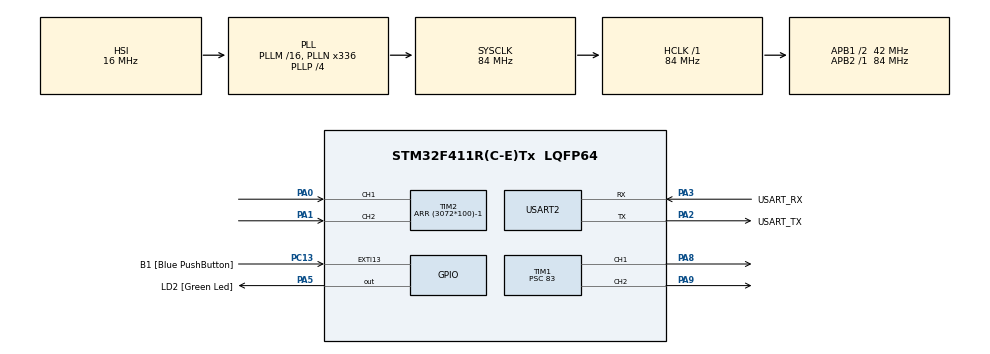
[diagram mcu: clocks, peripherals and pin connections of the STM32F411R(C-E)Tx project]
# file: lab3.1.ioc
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ARM.CMSIS.5.6.0.CMSISJjCORE=true
ARM.CMSIS.5.6.0.CMSISJjDSP=Library
Mcu.Family=STM32F4
Mcu.Name=STM32F411R(C-E)Tx
Mcu.Package=LQFP64
NVIC.PriorityGroup=NVIC_PRIORITYGROUP_0
NVIC.TIM3_IRQn=true\:0\:0\:false\:false\:true\:true\:true\:true
PA0-WKUP.Signal=S_TIM2_CH1_ETR
PA1.Signal=S_TIM2_CH2
PA13.GPIO_Label=TMS
PA13.Mode=Trace_Asynchronous_SW
PA13.Signal=SYS_JTMS-SWDIO
PA14.GPIO_Label=TCK
PA14.Mode=Trace_Asynchronous_SW
PA14.Signal=SYS_JTCK-SWCLK
PA2.GPIO_Label=USART_TX
PA2.Mode=Asynchronous
PA2.Signal=USART2_TX
PA3.GPIO_Label=USART_RX
PA3.Mode=Asynchronous
PA3.Signal=USART2_RX
PA5.GPIO_Label=LD2 [Green Led]
PA5.Signal=GPIO_Output
PA8.Signal=S_TIM1_CH1
PA9.Signal=S_TIM1_CH2
PB3.GPIO_Label=SWO
PB3.Mode=Trace_Asynchronous_SW
PB3.Signal=SYS_JTDO-SWO
PC13-ANTI_TAMP.GPIO_Label=B1 [Blue PushButton]
PC13-ANTI_TAMP.GPIO_ModeDefaultEXTI=GPIO_MODE_IT_FALLING
PC13-ANTI_TAMP.Signal=GPXTI13
PC14-OSC32_IN.Mode=LSE-External-Oscillator
PC14-OSC32_IN.Signal=RCC_OSC32_IN
PC15-OSC32_OUT.Mode=LSE-External-Oscillator
PC15-OSC32_OUT.Signal=RCC_OSC32_OUT
PH0\ -\ OSC_IN.Mode=HSE-External-Clock-Source
PH0\ -\ OSC_IN.Signal=RCC_OSC_IN
PH1\ -\ OSC_OUT.Mode=HSE-External-Clock-Source
PH1\ -\ OSC_OUT.Signal=RCC_OSC_OUT
ProjectManager.HeapSize=0x200
ProjectManager.StackSize=0x400
ProjectManager.TargetToolchain=STM32CubeIDE
RCC.48MHZClocksFreq_Value=84000000
RCC.AHBFreq_Value=84000000
RCC.APB1CLKDivider=RCC_HCLK_DIV2
RCC.APB1Freq_Value=42000000
RCC.APB1TimFreq_Value=84000000
RCC.APB2Freq_Value=84000000
RCC.APB2TimFreq_Value=84000000
RCC.CortexFreq_Value=84000000
RCC.FLatency-AdvancedSettings=FLASH_LATENCY_2
RCC.HCLKFreq_Value=84000000
RCC.HSE_VALUE=8000000
RCC.HSI_VALUE=16000000
RCC.PLLN=336
RCC.PLLP=RCC_PLLP_DIV4
RCC.SYSCLKFreq_VALUE=84000000
RCC.SYSCLKSource=RCC_SYSCLKSOURCE_PLLCLK
RCC.VCOOutputFreq_Value=336000000
SH.S_TIM1_CH1.0=TIM1_CH1,PWM Generation1 CH1
SH.S_TIM1_CH2.0=TIM1_CH2,PWM Generation2 CH2
SH.S_TIM2_CH1_ETR.0=TIM2_CH1,Encoder_Interface
SH.S_TIM2_CH2.0=TIM2_CH2,Encoder_Interface
TIM1.Channel-PWM\ Generation1\ CH1=TIM_CHANNEL_1
TIM1.Channel-PWM\ Generation2\ CH2=TIM_CHANNEL_2
TIM1.Period=999
TIM1.Prescaler=83
TIM2.Period=(3072*100)-1
TIM3.Period=1000-1
TIM3.Prescaler=83
USART2.VirtualMode=VM_ASYNC
VP_ARM.CMSIS_VS_CMSISJjCORE_5.3.0_5.6.0.Mode=CMSISJjCORE
VP_ARM.CMSIS_VS_CMSISJjDSP_1.7.0_5.6.0.Mode=CMSISJjDSP
VP_TIM1_VS_ClockSourceINT.Mode=Internal
VP_TIM3_VS_ClockSourceINT.Mode=Internal
board=NUCLEO-F411RE

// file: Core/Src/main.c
/* USER CODE BEGIN Header */
/* USER CODE END Header */
#include "main.h"

/* USER CODE BEGIN Includes */
#include "math.h"
/* USER CODE END Includes */

TIM_HandleTypeDef htim1;
TIM_HandleTypeDef htim2;
TIM_HandleTypeDef htim3;

UART_HandleTypeDef huart2;

/* USER CODE BEGIN PV */
uint64_t QEIReadRaw;
float position;
float targetposition;
float prevT=0;
float eprev=0;
float eintegral=0;
float u;
float Pwm=0;
float Kp=20;
float Ki=0.000001;
float Kd=0;
int32_t e;
int dir =1;
float deltaT;
float dedt;
/* USER CODE END PV */

void SystemClock_Config(void);
static void MX_GPIO_Init(void);
static void MX_USART2_UART_Init(void);
static void MX_TIM1_Init(void);
static void MX_TIM2_Init(void);
static void MX_TIM3_Init(void);
/* USER CODE BEGIN PFP */
float PlantSimulation(float Vin);
/* USER CODE END PFP */

int main(void)
{

  /* MCU Configuration--------------------------------------------------------*/

  /* Reset of all peripherals, Initializes the Flash interface and the Systick. */
  HAL_Init();

  /* Configure the system clock */
  SystemClock_Config();

  /* Initialize all configured peripherals */
  MX_GPIO_Init();
  MX_USART2_UART_Init();
  MX_TIM1_Init();
  MX_TIM2_Init();
  MX_TIM3_Init();
  /* USER CODE BEGIN 2 */
  HAL_TIM_Encoder_Start(&htim2, TIM_CHANNEL_1|TIM_CHANNEL_2);
  HAL_TIM_PWM_Start(&htim1, TIM_CHANNEL_1);
  HAL_TIM_PWM_Start(&htim1, TIM_CHANNEL_2);
  HAL_TIM_Base_Start_IT(&htim3);
  /* USER CODE END 2 */

  /* Infinite loop */
    while (1)
    {

    /* USER CODE BEGIN 3 */

//    	QEIReadRaw = __HAL_TIM_GET_COUNTER(&htim2);
//    	position = (QEIReadRaw*36000)/307200 ;
//    	static uint32_t timestamp = 0;
//    	timestamp = HAL_GetTick();
//    	float deltaT = (timestamp-prevT)/1000000;
//    	prevT = timestamp;
//    	e= targetposition-position;
//    	float dedt = (e-eprev)/(deltaT);
//    	float eintegral = eintegral+(e*deltaT);
//    	float u = (Kp*e) + (Kd*dedt) + (Ki*eintegral);
//    	float Pwm = fabs(u);
//    	if (Pwm > 65535) {
//			Pwm = 65535;
//		}
//    	int dir =1;
//    	if (0 > u) {
//			dir = -1;
//		}
//    	if (dir == 1) {
//			__HAL_TIM_SET_COMPARE(&htim1,TIM_CHANNEL_1,Pwm);
//		}
//    	else if (dir == -1){
//    		__HAL_TIM_SET_COMPARE(&htim1,TIM_CHANNEL_2,Pwm);
//    	}

    }
  /* USER CODE END 3 */
}

void SystemClock_Config(void)
{
  RCC_OscInitTypeDef RCC_OscInitStruct = {0};
  RCC_ClkInitTypeDef RCC_ClkInitStruct = {0};

  /** Configure the main internal regulator output voltage
  */
  __HAL_RCC_PWR_CLK_ENABLE();
  __HAL_PWR_VOLTAGESCALING_CONFIG(PWR_REGULATOR_VOLTAGE_SCALE1);

  /** Initializes the RCC Oscillators according to the specified parameters
  * in the RCC_OscInitTypeDef structure.
  */
  RCC_OscInitStruct.OscillatorType = RCC_OSCILLATORTYPE_HSI;
  RCC_OscInitStruct.HSIState = RCC_HSI_ON;
  RCC_OscInitStruct.HSICalibrationValue = RCC_HSICALIBRATION_DEFAULT;
  RCC_OscInitStruct.PLL.PLLState = RCC_PLL_ON;
  RCC_OscInitStruct.PLL.PLLSource = RCC_PLLSOURCE_HSI;
  RCC_OscInitStruct.PLL.PLLM = 16;
  RCC_OscInitStruct.PLL.PLLN = 336;
  RCC_OscInitStruct.PLL.PLLP = RCC_PLLP_DIV4;
  RCC_OscInitStruct.PLL.PLLQ = 4;
  if (HAL_RCC_OscConfig(&RCC_OscInitStruct) != HAL_OK)
  {
    Error_Handler();
  }

  /** Initializes the CPU, AHB and APB buses clocks
  */
  RCC_ClkInitStruct.ClockType = RCC_CLOCKTYPE_HCLK|RCC_CLOCKTYPE_SYSCLK
                              |RCC_CLOCKTYPE_PCLK1|RCC_CLOCKTYPE_PCLK2;
  RCC_ClkInitStruct.SYSCLKSource = RCC_SYSCLKSOURCE_PLLCLK;
  RCC_ClkInitStruct.AHBCLKDivider = RCC_SYSCLK_DIV1;
  RCC_ClkInitStruct.APB1CLKDivider = RCC_HCLK_DIV2;
  RCC_ClkInitStruct.APB2CLKDivider = RCC_HCLK_DIV1;

  if (HAL_RCC_ClockConfig(&RCC_ClkInitStruct, FLASH_LATENCY_2) != HAL_OK)
  {
    Error_Handler();
  }
}

static void MX_TIM1_Init(void)
{

  TIM_ClockConfigTypeDef sClockSourceConfig = {0};
  TIM_MasterConfigTypeDef sMasterConfig = {0};
  TIM_OC_InitTypeDef sConfigOC = {0};
  TIM_BreakDeadTimeConfigTypeDef sBreakDeadTimeConfig = {0};

  htim1.Instance = TIM1;
  htim1.Init.Prescaler = 83;
  htim1.Init.CounterMode = TIM_COUNTERMODE_UP;
  htim1.Init.Period = 999;
  htim1.Init.ClockDivision = TIM_CLOCKDIVISION_DIV1;
  htim1.Init.RepetitionCounter = 0;
  htim1.Init.AutoReloadPreload = TIM_AUTORELOAD_PRELOAD_DISABLE;
  if (HAL_TIM_Base_Init(&htim1) != HAL_OK)
  {
    Error_Handler();
  }
  sClockSourceConfig.ClockSource = TIM_CLOCKSOURCE_INTERNAL;
  if (HAL_TIM_ConfigClockSource(&htim1, &sClockSourceConfig) != HAL_OK)
  {
    Error_Handler();
  }
  if (HAL_TIM_PWM_Init(&htim1) != HAL_OK)
  {
    Error_Handler();
  }
  sMasterConfig.MasterOutputTrigger = TIM_TRGO_RESET;
  sMasterConfig.MasterSlaveMode = TIM_MASTERSLAVEMODE_DISABLE;
  if (HAL_TIMEx_MasterConfigSynchronization(&htim1, &sMasterConfig) != HAL_OK)
  {
    Error_Handler();
  }
  sConfigOC.OCMode = TIM_OCMODE_PWM1;
  sConfigOC.Pulse = 0;
  sConfigOC.OCPolarity = TIM_OCPOLARITY_HIGH;
  sConfigOC.OCNPolarity = TIM_OCNPOLARITY_HIGH;
  sConfigOC.OCFastMode = TIM_OCFAST_DISABLE;
  sConfigOC.OCIdleState = TIM_OCIDLESTATE_RESET;
  sConfigOC.OCNIdleState = TIM_OCNIDLESTATE_RESET;
  if (HAL_TIM_PWM_ConfigChannel(&htim1, &sConfigOC, TIM_CHANNEL_1) != HAL_OK)
  {
    Error_Handler();
  }
  if (HAL_TIM_PWM_ConfigChannel(&htim1, &sConfigOC, TIM_CHANNEL_2) != HAL_OK)
  {
    Error_Handler();
  }
  sBreakDeadTimeConfig.OffStateRunMode = TIM_OSSR_DISABLE;
  sBreakDeadTimeConfig.OffStateIDLEMode = TIM_OSSI_DISABLE;
  sBreakDeadTimeConfig.LockLevel = TIM_LOCKLEVEL_OFF;
  sBreakDeadTimeConfig.DeadTime = 0;
  sBreakDeadTimeConfig.BreakState = TIM_BREAK_DISABLE;
  sBreakDeadTimeConfig.BreakPolarity = TIM_BREAKPOLARITY_HIGH;
  sBreakDeadTimeConfig.AutomaticOutput = TIM_AUTOMATICOUTPUT_DISABLE;
  if (HAL_TIMEx_ConfigBreakDeadTime(&htim1, &sBreakDeadTimeConfig) != HAL_OK)
  {
    Error_Handler();
  }
  HAL_TIM_MspPostInit(&htim1);

}

static void MX_TIM2_Init(void)
{

  TIM_Encoder_InitTypeDef sConfig = {0};
  TIM_MasterConfigTypeDef sMasterConfig = {0};

  htim2.Instance = TIM2;
  htim2.Init.Prescaler = 0;
  htim2.Init.CounterMode = TIM_COUNTERMODE_UP;
  htim2.Init.Period = (3072*100)-1;
  htim2.Init.ClockDivision = TIM_CLOCKDIVISION_DIV1;
  htim2.Init.AutoReloadPreload = TIM_AUTORELOAD_PRELOAD_DISABLE;
  sConfig.EncoderMode = TIM_ENCODERMODE_TI1;
  sConfig.IC1Polarity = TIM_ICPOLARITY_RISING;
  sConfig.IC1Selection = TIM_ICSELECTION_DIRECTTI;
  sConfig.IC1Prescaler = TIM_ICPSC_DIV1;
  sConfig.IC1Filter = 0;
  sConfig.IC2Polarity = TIM_ICPOLARITY_RISING;
  sConfig.IC2Selection = TIM_ICSELECTION_DIRECTTI;
  sConfig.IC2Prescaler = TIM_ICPSC_DIV1;
  sConfig.IC2Filter = 0;
  if (HAL_TIM_Encoder_Init(&htim2, &sConfig) != HAL_OK)
  {
    Error_Handler();
  }
  sMasterConfig.MasterOutputTrigger = TIM_TRGO_RESET;
  sMasterConfig.MasterSlaveMode = TIM_MASTERSLAVEMODE_DISABLE;
  if (HAL_TIMEx_MasterConfigSynchronization(&htim2, &sMasterConfig) != HAL_OK)
  {
    Error_Handler();
  }

}

static void MX_TIM3_Init(void)
{

  TIM_ClockConfigTypeDef sClockSourceConfig = {0};
  TIM_MasterConfigTypeDef sMasterConfig = {0};

  htim3.Instance = TIM3;
  htim3.Init.Prescaler = 83;
  htim3.Init.CounterMode = TIM_COUNTERMODE_UP;
  htim3.Init.Period = 1000-1;
  htim3.Init.ClockDivision = TIM_CLOCKDIVISION_DIV1;
  htim3.Init.AutoReloadPreload = TIM_AUTORELOAD_PRELOAD_DISABLE;
  if (HAL_TIM_Base_Init(&htim3) != HAL_OK)
  {
    Error_Handler();
  }
  sClockSourceConfig.ClockSource = TIM_CLOCKSOURCE_INTERNAL;
  if (HAL_TIM_ConfigClockSource(&htim3, &sClockSourceConfig) != HAL_OK)
  {
    Error_Handler();
  }
  sMasterConfig.MasterOutputTrigger = TIM_TRGO_RESET;
  sMasterConfig.MasterSlaveMode = TIM_MASTERSLAVEMODE_DISABLE;
  if (HAL_TIMEx_MasterConfigSynchronization(&htim3, &sMasterConfig) != HAL_OK)
  {
    Error_Handler();
  }

}

static void MX_USART2_UART_Init(void)
{

  huart2.Instance = USART2;
  huart2.Init.BaudRate = 115200;
  huart2.Init.WordLength = UART_WORDLENGTH_8B;
  huart2.Init.StopBits = UART_STOPBITS_1;
  huart2.Init.Parity = UART_PARITY_NONE;
  huart2.Init.Mode = UART_MODE_TX_RX;
  huart2.Init.HwFlowCtl = UART_HWCONTROL_NONE;
  huart2.Init.OverSampling = UART_OVERSAMPLING_16;
  if (HAL_UART_Init(&huart2) != HAL_OK)
  {
    Error_Handler();
  }

}

static void MX_GPIO_Init(void)
{
  GPIO_InitTypeDef GPIO_InitStruct = {0};

  /* GPIO Ports Clock Enable */
  __HAL_RCC_GPIOC_CLK_ENABLE();
  __HAL_RCC_GPIOH_CLK_ENABLE();
  __HAL_RCC_GPIOA_CLK_ENABLE();
  __HAL_RCC_GPIOB_CLK_ENABLE();

  /*Configure GPIO pin Output Level */
  HAL_GPIO_WritePin(LD2_GPIO_Port, LD2_Pin, GPIO_PIN_RESET);

  /*Configure GPIO pin : B1_Pin */
  GPIO_InitStruct.Pin = B1_Pin;
  GPIO_InitStruct.Mode = GPIO_MODE_IT_FALLING;
  GPIO_InitStruct.Pull = GPIO_NOPULL;
  HAL_GPIO_Init(B1_GPIO_Port, &GPIO_InitStruct);

  /*Configure GPIO pin : LD2_Pin */
  GPIO_InitStruct.Pin = LD2_Pin;
  GPIO_InitStruct.Mode = GPIO_MODE_OUTPUT_PP;
  GPIO_InitStruct.Pull = GPIO_NOPULL;
  GPIO_InitStruct.Speed = GPIO_SPEED_FREQ_LOW;
  HAL_GPIO_Init(LD2_GPIO_Port, &GPIO_InitStruct);

}

/* USER CODE BEGIN 4 */
void HAL_TIM_PeriodElapsedCallback(TIM_HandleTypeDef *htim){
	if (htim==&htim3) {
    	QEIReadRaw = __HAL_TIM_GET_COUNTER(&htim2);
    	position = (QEIReadRaw*36000)/307200 ;
    	deltaT = 0.001 ;
    	e= targetposition-position;
    	dedt = (e-eprev)/(deltaT);
    	eintegral = eintegral+(e*deltaT);
    	u = (Kp*e) + (Kd*dedt) + (Ki*eintegral);
    	float Pwm = fabs(u);
    	if (Pwm > 1000) {
			Pwm = 1000;
		}
    	eprev = 0;
    	dir = 1;
    	if (0 > u) {
			dir = -1;
		}
    	if (dir == -1) {
			__HAL_TIM_SET_COMPARE(&htim1,TIM_CHANNEL_1,Pwm);
			__HAL_TIM_SET_COMPARE(&htim1,TIM_CHANNEL_2,0);
		}
    	else if (dir == 1){
    		__HAL_TIM_SET_COMPARE(&htim1,TIM_CHANNEL_2,Pwm);
    		__HAL_TIM_SET_COMPARE(&htim1,TIM_CHANNEL_1,0);
    	}
	}
}

/* USER CODE END 4 */

void Error_Handler(void)
{
}
